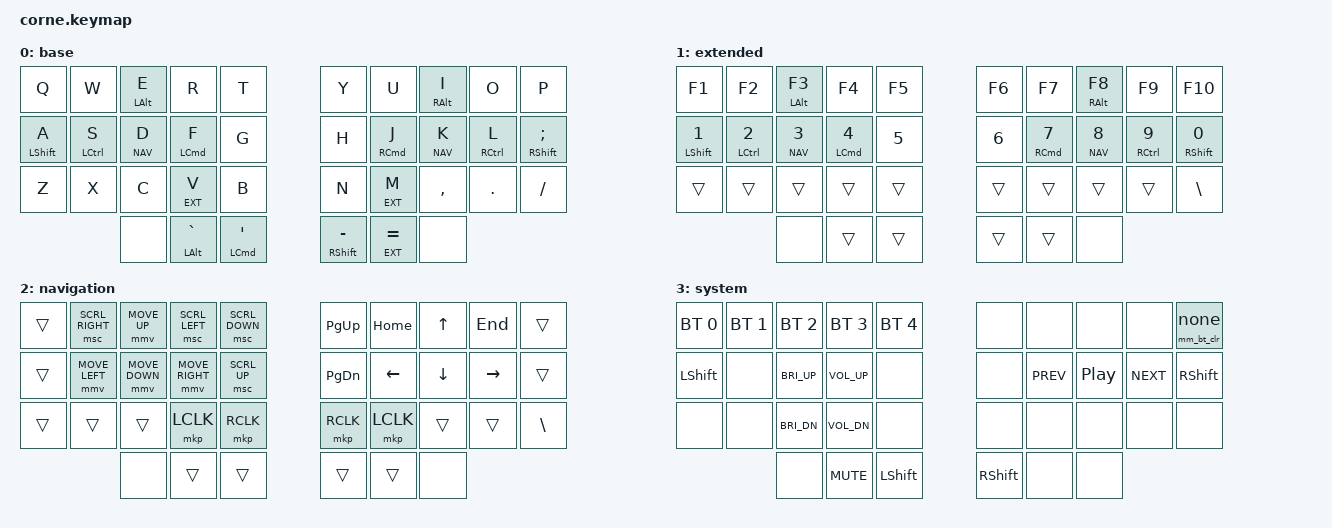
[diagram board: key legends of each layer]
// ZMK mouse emulation params: default movement and scrolling speed. These must be
// defined before including `dt-bindings/zmk/pointing.h`.
#define ZMK_POINTING_DEFAULT_MOVE_VAL 1800
#define ZMK_POINTING_DEFAULT_SCRL_VAL 22

// Now we import all the ZMK stuff and the above overrides get applied correctly.
#include <input/processors.dtsi>
#include <behaviors.dtsi>
#include <dt-bindings/zmk/bt.h>
#include <dt-bindings/zmk/keys.h>
#include <dt-bindings/zmk/pointing.h>
#include <dt-bindings/zmk/modifiers.h>

// Define names for layers instead of using the numbers directly.
#define BASE 0
#define EXT 1
#define NAV 2
#define SYS 3

// (heavily) Parametrised macros for DRY combo definitions.
#define _COMBO(NAME, BINDING, LAYERS, POSITIONS, REQUIRE_PRIOR_IDLE, TIMEOUT) NAME { \
    bindings = <BINDING>; \
    layers = <LAYERS>; \
    key-positions = <POSITIONS>; \
    require-prior-idle-ms = <REQUIRE_PRIOR_IDLE>; \
    timeout-ms = <TIMEOUT>; \
    slow-release; \
}
#define COMBO(N, B, L, P) _COMBO(N, B, L, P, 70, 35)
#define COMBO_SLOW(N, B, L, P) _COMBO(N, B, L, P, 70, 70)
#define COMBO_FAST(N, B, L, P) _COMBO(N, B, L, P, 35, 35)

// Flavour and timing overrides for builtin hold-tap behaviours (&mt and &lt).
// See docs/timing-parameters.md for detailed explanation of these values.
#define HOLD_TAP_OVERRIDES(NODE) NODE { \
    flavor = "balanced"; \
    require-prior-idle-ms = <150>; \
    tapping-term-ms = <200>; \
    quick-tap-ms = <200>; \
}


/ {
    chosen {
        zmk,physical-layout = &foostan_corne_5col_layout;
        zmk,matrix-transform = &five_column_transform;
    };

    // The following visual representation of the keymap layout is meant to be used as
    // an aid when editing the keymap (especially combos). My keyboard is a 5-column
    // Corne Choc Wireless from Typeractive.
    //
    // IMPORTANT: I will only be using the two inner thumb keys, leaving keys 30 and 35
    // unused (they're covered by the switch plate I've 3D printed). The firmware will
    // still see them as valid keys (mapped to `&none` and never pressed), but they need
    // to be taken into account when defining key positions, as they will affect the
    // indices of the remaining keys.
    //
    // ┌────┬────┬────┬────┬────┐                 ┌────┬────┬────┬────┬────┐
    // │  0 │  1 │  2 │  3 │  4 │                 │  5 │  6 │  7 │  8 │  9 │
    // ├────┼────┼────┼────┼────┤                 ├────┼────┼────┼────┼────┤
    // │ 10 │ 11 │ 12 │ 13 │ 14 │                 │ 15 │ 16 │ 17 │ 18 │ 19 │
    // ├────┼────┼────┼────┼────┤                 ├────┼────┼────┼────┼────┤
    // │ 20 │ 21 │ 22 │ 23 │ 24 │                 │ 25 │ 26 │ 27 │ 28 │ 29 │
    // └────┴────┴────┼────┼────┼────┐       ┌────┼────┼────┼────┴────┴────┘
    //                │ 30 │ 31 │ 32 │       │ 33 │ 34 │ 35 │
    //                └────┴────┴────┘       └────┴────┴────┘
    combos {
        compatible = "zmk,combos";

        // Easy to pull combos for very common keys: tab, backspace, delete, enter,
        // escape, space. These use the two strongest fingers (index and middle) on each
        // side of the keyboard, either in their home position or one key away.
        //
        // Here I use COMBO_FAST because I need to be able to use them while typing at
        // normal speed without interference/false positives. Using slower timing
        // parameters would introduce a noticeable wait e.g. after every word to be able
        // to type a space and continue typing.
        COMBO_FAST(kp_tab, &kp TAB, BASE EXT, 2 3);
        COMBO_FAST(kp_bspc, &kp BSPC, BASE EXT, 12 13);
        COMBO_FAST(kp_del, &kp DEL, BASE EXT, 13 14);
        COMBO_FAST(kp_ret, &kp RET, BASE EXT, 6 7);
        COMBO_FAST(kp_esc, &kp ESC, BASE EXT, 15 16);
        COMBO_FAST(kp_spc, &kp SPC, BASE EXT, 16 17);

        // As a SWE, easy access to parenthesis, brackets, and braces is essential.
        COMBO(kp_lpar, &kp LPAR, BASE EXT, 22 23);
        COMBO(kp_rpar, &kp RPAR, BASE EXT, 26 27);
        COMBO(kp_lbkt, &kp LBKT, BASE EXT, 23 24);
        COMBO(kp_rbkt, &kp RBKT, BASE EXT, 25 26);

        // Alternative combos for parentheses, brackets and braces. This is only to test
        // a different setup and I'll remove one set of them later. I'm hoping this one
        // works better.
        COMBO_FAST(kp_lpar2, &kp LPAR, BASE EXT, 13 32);
        COMBO_FAST(kp_lbkt2, &kp LBKT, BASE EXT, 12 32);
        COMBO_FAST(kp_lbrc2, &kp LBRC, BASE EXT, 11 32);
        COMBO_FAST(kp_rpar2, &kp RPAR, BASE EXT, 16 33);
        COMBO_FAST(kp_rbkt2, &kp RBKT, BASE EXT, 17 33);
        COMBO_FAST(kp_rbrc2, &kp RBRC, BASE EXT, 18 33);

        // F11 and F12 keys couldn't fit the keyboard (only 5 columns on each side).
        COMBO_SLOW(kp_f11, &kp F11, EXT, 7 8);
        COMBO_SLOW(kp_f12, &kp F12, EXT, 8 9);

        // The SYS layer is accessed through a combo using both outer thumb keys.
        COMBO_SLOW(mo_sys, &mo SYS, BASE, 31 34);
    };

    keymap {
        compatible = "zmk,keymap";

        base {
            bindings = <
  &kp Q        &kp W        &mt LALT E  &kp R           &kp T           &kp Y            &kp U          &mt RALT I  &kp O        &kp P
  &mt LSHFT A  &mt LCTRL S  &lt NAV D   &mt LCMD F      &kp G           &kp H            &mt RCMD J     &lt NAV K   &mt RCTRL L  &mt RSHFT SEMI
  &kp Z        &kp X        &kp C       &lt EXT V       &kp B           &kp N            &lt EXT M      &kp COMMA   &kp PERIOD   &kp SLASH
                            &none       &mt LALT GRAVE  &mt LCMD SQT    &mt RSHFT MINUS  &lt EXT EQUAL  &none
            >;
        };

        extended {
            bindings = <
  &kp F1        &kp F2        &mt LALT F3  &kp F4       &kp F5    &kp F6  &kp F7       &mt RALT F8  &kp F9        &kp F10
  &mt LSHFT N1  &mt LCTRL N2  &lt NAV N3   &mt LCMD N4  &kp N5    &kp N6  &mt RCMD N7  &lt NAV N8   &mt RCTRL N9  &mt RSHFT N0
  &trans        &trans        &trans       &trans       &trans    &trans  &trans       &trans       &trans        &kp BACKSLASH
                              &none        &trans       &trans    &trans  &trans       &none
            >;
        };

        navigation {
            bindings = <
  &trans  &msc SCRL_RIGHT  &mmv MOVE_UP    &msc SCRL_LEFT   &msc SCRL_DOWN    &kp PG_UP       &kp HOME         &kp UP    &kp END    &trans
  &trans  &mmv MOVE_LEFT   &mmv MOVE_DOWN  &mmv MOVE_RIGHT  &msc SCRL_UP      &kp PG_DN       &kp LEFT         &kp DOWN  &kp RIGHT  &trans
  &trans  &trans           &trans          &mkp LCLK        &mkp RCLK         &mkp RCLK       &mkp LCLK        &trans    &trans     &kp BACKSLASH
                           &none           &trans           &trans            &trans          &trans           &none
            >;
        };

        system {
            bindings = <
  &bt BT_SEL 0  &bt BT_SEL 1  &bt BT_SEL 2  &bt BT_SEL 3  &bt BT_SEL 4    &none      &none       &none     &none      &bt_clr 0 0
  &kp LSHFT     &none         &kp C_BRI_UP  &kp C_VOL_UP  &none           &none      &kp C_PREV  &kp C_PP  &kp C_NEXT &kp RSHFT
  &none         &none         &kp C_BRI_DN  &kp C_VOL_DN  &none           &none      &none       &none     &none      &none
                              &none         &kp C_MUTE    &kp LSHFT       &kp RSHFT  &none       &none
            >;
        };
    };

    behaviors {
        bt_clr: bt_clr {
            compatible = "zmk,behavior-hold-tap";
            #binding-cells = <2>;
            flavor = "tap-preferred";
            tapping-term-ms = <3000>;
            bindings = <&mm_bt_clr>, <&none>;
        };

        mm_bt_clr: mm_bt_clr {
            compatible = "zmk,behavior-mod-morph";
            #binding-cells = <0>;
            bindings = <&bt BT_CLR>, <&bt BT_CLR_ALL>;
            mods = <(MOD_LSFT|MOD_RSFT)>;
        };
    };
};

HOLD_TAP_OVERRIDES(&mt);
HOLD_TAP_OVERRIDES(&lt);

&kscan0 { wakeup-source; };
